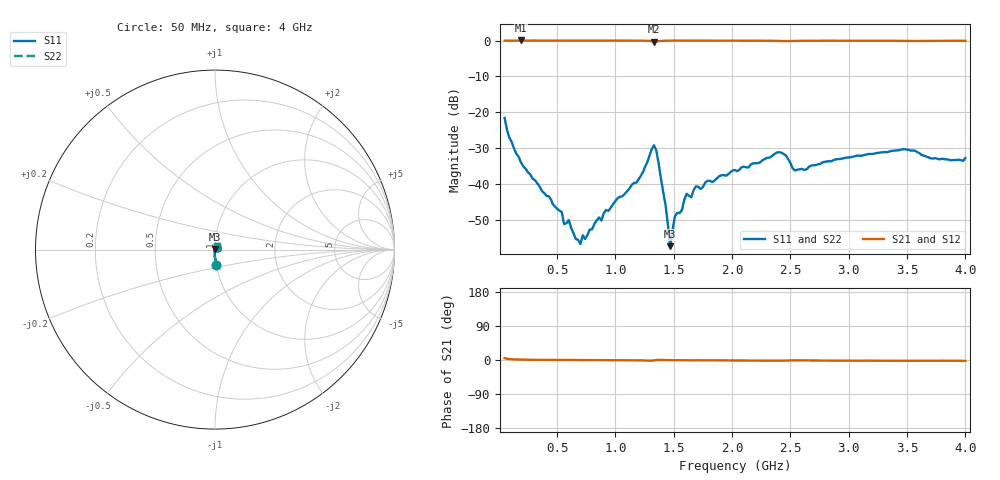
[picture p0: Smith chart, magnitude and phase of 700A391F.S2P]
!  American Technical Ceramics  Date:  3/13/98
!  One Norden Lane
!  Huntington Station,  NY.  11746-2102
!  Tel:  (516) 547-5700  Fax:  (516) 547-5748
!  Part Number  700A391F
!  Description: Porcelain, High Q, Low ESR
!  Application: Bypass, Coupling, Timing, Feedback
!  Tuning, Impedance Match, Blocking
# GHZ S DB R 50
! Freq  |S11|  S11 Ph  |S21|  S21 Ph  |S12|  S12 Ph  |S22|  S22 Ph
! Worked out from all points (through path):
!   201 points, 50 MHz to 4 GHz, reference 50 ohm
!   highest |S21| = 0.03 dB at 190 MHz (marker M1); lowest = -0.3 dB at 1.33 GHz (marker M2)
!   lowest |S11| = -57.3 dB at 1.47 GHz (marker M3), VSWR 1.00, Z = 50.1 + j0.0589 ohm
!   |S11| at or under -10 dB: start of sweep to end of sweep
!   |S22| runs from -57.3 to -21.6 dB; largest |S21 - S12| = 0
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0.05  -21.56 -86.8  -0.04 4.8  -0.04 4.8  -21.56 -86.8
0.19  -33.97 -93.4  0.03 1.1  0.03 1.1  -33.97 -93.4
0.54  -47.84 -123.1  0.00 -0.1  0.00 -0.1  -47.84 -123.1
0.56  -51.17 -134.8  0.00 -0.0  0.00 -0.0  -51.17 -134.8
0.6  -50.06 -140.8  -0.01 0.0  -0.01 0.0  -50.06 -140.8
0.66  -55.33 -159.3  0.00 -0.3  0.00 -0.3  -55.33 -159.3
0.7  -56.75 -175.5  0.01 -0.4  0.01 -0.4  -56.75 -175.5
0.72  -54.28 161.6  -0.01 -0.3  -0.01 -0.3  -54.28 161.6
1.18  -39.59 85.9  0.00 -1.1  0.00 -1.1  -39.59 85.9
1.33  -29.19 22.6  -0.30 -1.2  -0.30 -1.2  -29.19 22.6
1.37  -34.21 -32.8  -0.16 0.3  -0.16 0.3  -34.21 -32.8
1.43  -45.94 -36.4  -0.04 -0.1  -0.04 -0.1  -45.94 -36.4
1.47  -57.33 25.6  -0.03 -0.2  -0.03 -0.2  -57.33 25.6
1.51  -48.97 62.3  0.00 -0.6  0.00 -0.6  -48.97 62.3
1.57  -47.24 81.5  -0.01 -0.6  -0.01 -0.6  -47.24 81.5
1.61  -42.73 77.4  -0.01 -0.8  -0.01 -0.8  -42.73 77.4
2.03  -36.15 75.8  -0.02 -1.1  -0.02 -1.1  -36.15 75.8
2.4  -31.12 59.4  -0.11 -1.5  -0.11 -1.5  -31.12 59.4
2.54  -36.22 47.1  -0.10 -0.9  -0.10 -0.9  -36.22 47.1
2.7  -34.76 66.5  -0.04 -1.2  -0.04 -1.2  -34.76 66.5
3.35  -30.91 68.0  -0.06 -2.0  -0.06 -2.0  -30.91 68.0
4  -32.75 65.5  -0.06 -2.2  -0.06 -2.2  -32.75 65.5
